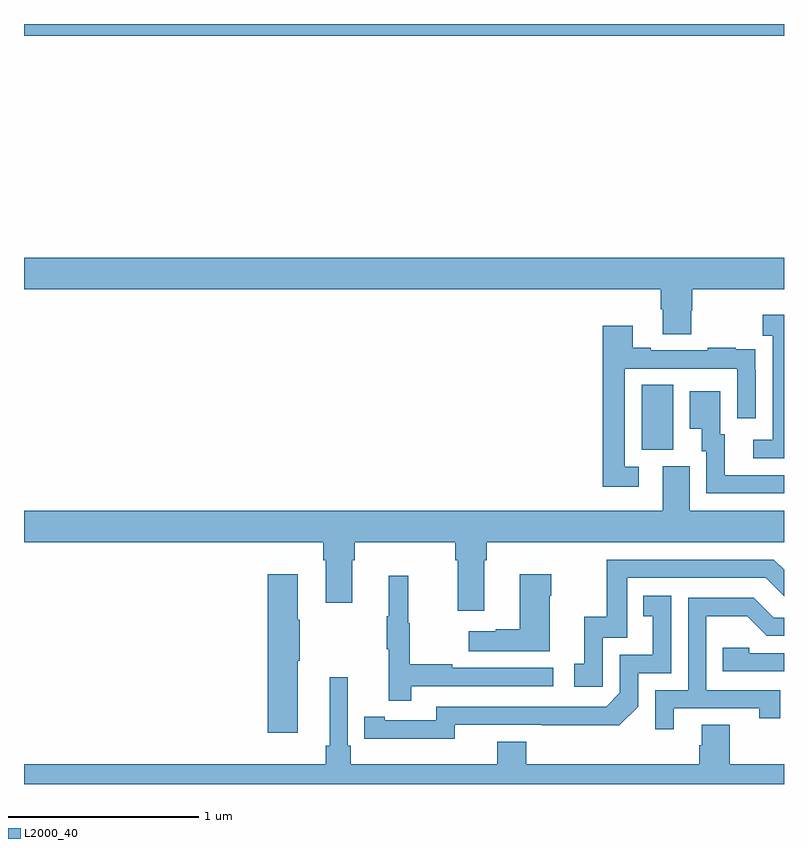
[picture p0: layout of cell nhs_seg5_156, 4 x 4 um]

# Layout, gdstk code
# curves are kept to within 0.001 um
import gdstk
lib = gdstk.Library(unit=1e-6, precision=1e-09)
def R(c, l, rs):  # rectangles x0, y0, x1, y1
    for r in rs: c.add(gdstk.rectangle(r[:2], r[2:], *l))
def P(c, l, *ps):  # polygons
    for p in ps: c.add(gdstk.Polygon(p, *l))
L2000_40 = (2000, 40)

nhs_seg5_156 = lib.new_cell('nhs_seg5_156')
R(nhs_seg5_156, L2000_40, [(122.252,878.557,122.416,878.9), (119,880.736,123,880.799)])
P(nhs_seg5_156, L2000_40, [(122.511,879.291),(122.516,879.291),(122.516,879.404),(123,879.404),(123,879.568),(119,879.568),(119,879.404),(122.351,879.404),(122.351,879.298),(122.363,879.298),(122.363,879.166),(122.511,879.166)],
  [(123,879.268),(122.889,879.268),(122.889,879.158),(122.94,879.158),(122.94,878.61),(122.838,878.61),(122.838,878.514),(123,878.514)],
  [(122.236,878.469),(122.163,878.469),(122.163,878.985),(122.754,878.985),(122.754,878.724),(122.85,878.724),(122.85,878.978),(122.849,878.978),(122.849,879.087),(122.747,879.087),(122.747,879.094),(122.599,879.094),(122.599,879.081),(122.299,879.081),(122.299,879.094),(122.203,879.094),(122.203,879.211),(122.047,879.211),(122.047,878.364),(122.236,878.364)],
  [(123,878.424),(122.689,878.424),(122.689,878.64),(122.665,878.64),(122.665,878.866),(122.504,878.866),(122.504,878.669),(122.567,878.669),(122.567,878.55),(122.592,878.55),(122.592,878.328),(123,878.328)],
  [(121.423,877.976),(121.436,877.976),(121.436,878.072),(123,878.072),(123,878.236),(122.503,878.236),(122.503,878.472),(122.363,878.472),(122.363,878.236),(119,878.236),(119,878.072),(120.575,878.072),(120.575,877.976),(120.587,877.976),(120.587,877.752),(120.727,877.752),(120.727,877.976),(120.74,877.976),(120.74,878.072),(121.271,878.072),(121.271,877.976),(121.283,877.976),(121.283,877.71),(121.423,877.71)],
  [(122.046,877.569),(122.175,877.569),(122.175,877.884),(122.904,877.884),(123,877.788),(123,877.926),(122.946,877.98),(122.067,877.98),(122.067,877.678),(121.949,877.678),(121.949,877.431),(121.896,877.431),(121.896,877.311),(122.046,877.311)],
  [(121.768,877.79),(121.776,877.79),(121.776,877.903),(121.61,877.903),(121.61,877.613),(121.484,877.613),(121.484,877.603),(121.341,877.603),(121.341,877.499),(121.768,877.499)],
  [(120.442,877.447),(120.45,877.447),(120.45,877.664),(120.442,877.664),(120.442,877.903),(120.284,877.903),(120.284,877.068),(120.442,877.068)],
  [(121.037,877.314),(121.786,877.314),(121.786,877.41),(121.253,877.41),(121.253,877.43),(121.03,877.43),(121.03,877.644),(121.022,877.644),(121.022,877.894),(120.92,877.894),(120.92,877.681),(120.909,877.681),(120.909,877.507),(120.92,877.507),(120.92,877.236),(121.037,877.236)],
  [(121.266,877.11),(122.134,877.109),(122.232,877.206),(122.232,877.383),(122.406,877.383),(122.406,877.789),(122.26,877.789),(122.26,877.683),(122.309,877.683),(122.309,877.479),(122.136,877.479),(122.136,877.278),(122.064,877.206),(121.17,877.206),(121.17,877.134),(120.898,877.134),(120.898,877.154),(120.79,877.154),(120.79,877.038),(121.266,877.037)],
  [(122.419,877.197),(122.87,877.197),(122.87,877.146),(122.981,877.146),(122.981,877.293),(122.592,877.293),(122.592,877.682),(122.806,877.682),(122.91,877.578),(123,877.578),(123,877.674),(122.947,877.674),(122.842,877.779),(122.496,877.779),(122.496,877.293),(122.322,877.293),(122.322,877.086),(122.419,877.086)],
  [(123,877.488),(122.817,877.488),(122.817,877.515),(122.677,877.515),(122.677,877.392),(123,877.392)],
  [(123,876.904),(122.715,876.904),(122.715,877.112),(122.567,877.112),(122.567,877.002),(122.555,877.002),(122.555,876.904),(121.643,876.904),(121.643,877.021),(121.49,877.021),(121.49,876.904),(120.719,876.904),(120.719,877),(120.705,877),(120.705,877.36),(120.608,877.36),(120.608,877),(120.589,877),(120.589,876.904),(119,876.904),(119,876.799),(123,876.799)])

lib.write_gds('nhs_seg5_156.gds')
